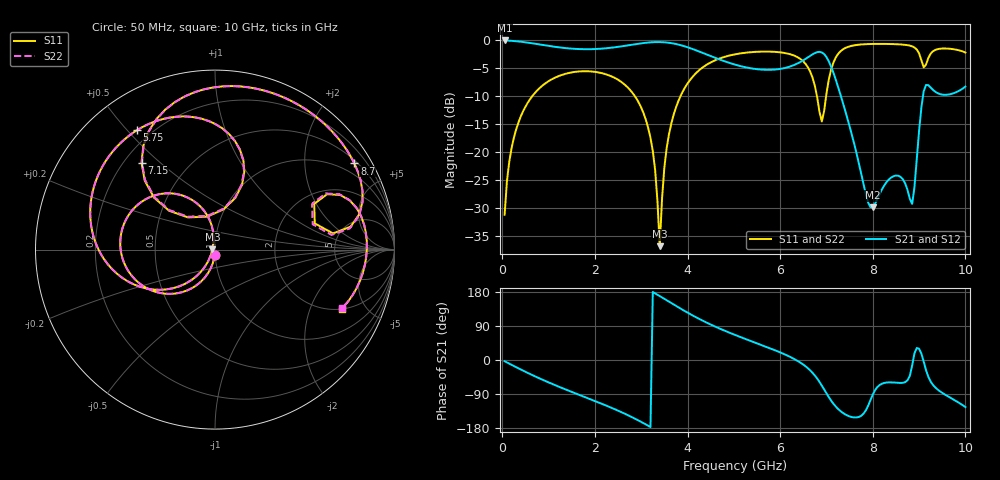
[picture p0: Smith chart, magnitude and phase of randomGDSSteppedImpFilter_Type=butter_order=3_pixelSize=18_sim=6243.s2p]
! freq	dB(S11)	phase(S11)	dB(S12)	phase(S12)
!  dB(S21)	phase(S21)	dB(S22)	phase(S22)
!S-par simulation data
#  GHz  S  DB  R 50
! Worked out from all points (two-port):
!   200 points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, 50 MHz to 10 GHz, reference 50 ohm
!   highest |S21| = -0.01 dB at 50 MHz (marker M1); lowest = -29.8 dB at 8 GHz (marker M2)
!   |S21| within 3 dB of the highest: start of sweep to 4.564 GHz; 6.603 GHz to 7.002 GHz (398.9 MHz wide, 5.86 % of centre)
!   lowest |S11| = -36.8 dB at 3.4 GHz (marker M3), VSWR 1.03, Z = 48.6 + j0.212 ohm
!   |S11| at or under -10 dB: start of sweep to 644.3 MHz; 2.865 GHz to 3.846 GHz (980.8 MHz wide, 29.2 % of centre); 6.795 GHz to 6.992 GHz (196.5 MHz wide, 2.85 % of centre)
!   |S22| runs from -36.8 to -0.6 dB; largest |S21 - S12| = 0
!   S11 on the Smith chart (normalised r, x): 50 MHz: 1.00, -0.06; 5.75 GHz: 0.15, +0.53; 7.15 GHz: 0.27, +0.44; 8.7 GHz: 0.59, +3.42; 10 GHz: 2.02, -3.38
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0.05  -31.16 -93.3  -0.01 -3.2  -0.01 -3.2  -31.16 -93.3
0.2  -19.26 -103.2  -0.07 -12.7  -0.07 -12.7  -19.26 -103.2
0.5  -11.84 -121.6  -0.34 -31.1  -0.34 -31.1  -11.84 -121.6
1.75  -5.51 173.5  -1.57 -96.2  -1.57 -96.2  -5.51 173.5
3  -12.02 108.4  -0.52 -163.4  -0.52 -163.4  -12.02 108.4
3.25  -19.77 96.1  -0.32 179.5  -0.32 179.5  -19.77 96.2
3.4  -36.77 171.3  -0.29 168.7  -0.29 168.7  -36.76 171.3
3.55  -19.22 -120.5  -0.37 157.6  -0.37 157.6  -19.22 -120.5
3.8  -10.88 -134.2  -0.74 139.2  -0.74 139.2  -10.88 -134.2
5.05  -2.45 154.6  -4.38 65.0  -4.38 65.0  -2.45 154.6
5.75  -2.00 123.1  -5.26 32.4  -5.26 32.4  -2.00 123.1
6.7  -6.67 69.4  -2.49 -33.9  -2.49 -33.9  -6.65 69.7
6.9  -14.48 103.4  -2.14 -67.6  -2.14 -67.6  -14.31 103.4
7.15  -3.96 130.2  -5.78 -115.3  -5.78 -115.3  -3.94 129.9
7.5  -1.06 97.3  -15.37 -148.9  -15.37 -148.9  -1.06 97.1
8  -0.63 67.7  -29.82 -91.2  -29.82 -91.2  -0.63 67.5
8.35  -0.64 50.2  -24.83 -59.0  -24.83 -59.0  -0.64 50.0
8.7  -0.79 31.7  -25.56 -58.4  -25.56 -58.4  -0.80 31.5
8.85  -1.05 22.0  -29.22 -14.8  -29.22 -14.8  -1.07 21.6
9.15  -4.31 24.7  -7.97 -26.9  -7.97 -26.9  -4.45 25.3
9.5  -1.45 6.3  -9.69 -86.7  -9.69 -86.7  -1.46 6.5
10  -2.17 -25.0  -8.26 -124.3  -8.26 -124.3  -2.17 -24.9
